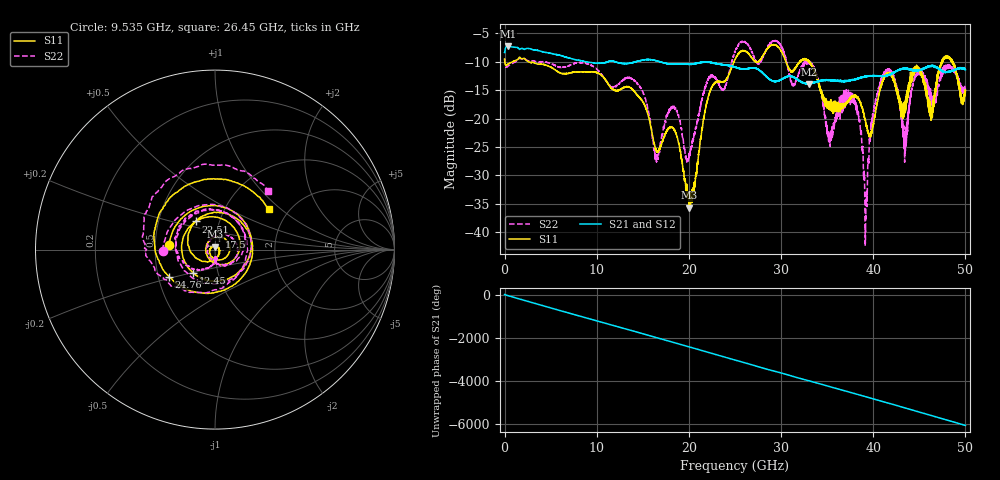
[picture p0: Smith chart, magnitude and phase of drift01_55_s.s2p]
!Created with skrf (http://scikit-rf.org).
# Hz S RI R 50.0
!freq ReS11 ImS11 ReS21 ImS21 ReS12 ImS12 ReS22 ImS22
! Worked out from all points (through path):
!   10001 points, 300 kHz to 50 GHz, reference 50 ohm
!   highest |S21| = -7.33 dB at 330.3 MHz (marker M1); lowest = -14.0 dB at 33.02 GHz (marker M2)
!   group delay of S21, straight-line fit = 335 ps
!   lowest |S11| = -35.7 dB at 20.01 GHz (marker M3), VSWR 1.03, Z = 49.9 + j1.64 ohm
!   |S11| at or under -10 dB: 2.558 GHz to 24.9 GHz (22.35 GHz wide, 163 % of centre); 30.52 GHz to 32.02 GHz (1.496 GHz wide, 4.78 % of centre); 33.07 GHz to 47.44 GHz (14.37 GHz wide, 35.7 % of centre) (the widest 3 of 23)
!   |S22| runs from -42.4 to -6.3 dB; largest |S21 - S12| = 0.0085
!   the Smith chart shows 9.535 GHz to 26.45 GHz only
!   S11 on the Smith chart (normalised r, x): 9.535 GHz: 0.59, +0.03; 12.45 GHz: 0.76, -0.20; 17.5 GHz: 1.03, +0.15; 22.51 GHz: 0.77, +0.25; 24.76 GHz: 0.57, -0.19; 26.45 GHz: 1.59, +0.83
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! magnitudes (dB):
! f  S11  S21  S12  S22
! 300 kHz  -9.5  -8.4  -8.5  -9.5
! 330.3 MHz  -10.5  -7.3  -7.3  -10.9
! 8.335 GHz  -11.8  -9.9  -9.9  -10.2
! 9.535 GHz  -11.8  -10.2  -10.2  -10.8
! 12.45 GHz  -15.0  -10.2  -10.2  -13.9
! 16.67 GHz  -25.8  -9.9  -10.0  -27.1
! 17.5 GHz  -22.5  -10.3  -10.3  -20.3
! 20.01 GHz  -35.7  -10.5  -10.5  -26.7
! 22.51 GHz  -14.4  -10.2  -10.2  -12.5
! 24.76 GHz  -10.5  -10.9  -10.8  -9.3
! 25 GHz  -9.6  -11.0  -11.0  -8.3
! 26.45 GHz  -8.6  -11.2  -11.2  -7.1
! 33.02 GHz  -9.9  -14.0  -13.8  -10.1
! 33.34 GHz  -10.8  -13.8  -13.7  -10.7
! 35.25 GHz  -17.1  -13.2  -13.3  -23.4
! 37.96 GHz  -16.0  -13.1  -13.1  -17.1
! 39.17 GHz  -20.4  -12.7  -12.6  -39.9
! 40.14 GHz  -19.8  -12.5  -12.5  -18.2
! 41.67 GHz  -11.9  -12.3  -12.4  -12.2
! 43.45 GHz  -17.4  -11.3  -11.3  -24.8
! 44.88 GHz  -11.1  -11.6  -11.6  -12.0
! 50 GHz  -15.3  -11.4  -11.3  -15.2
